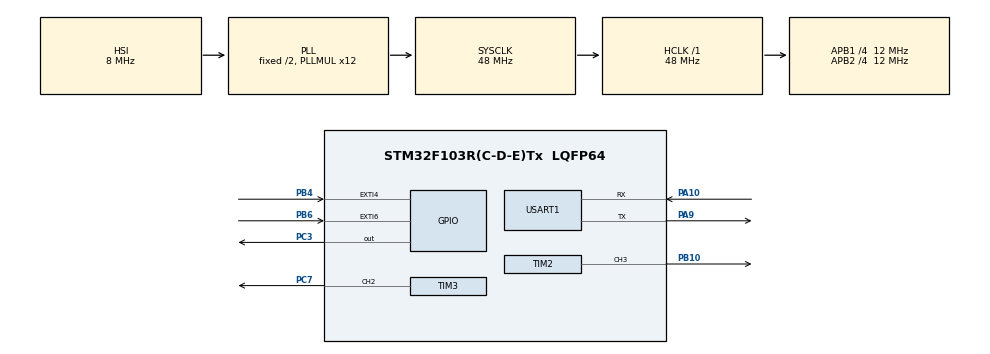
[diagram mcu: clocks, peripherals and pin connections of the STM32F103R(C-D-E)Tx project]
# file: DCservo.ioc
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Mcu.Family=STM32F1
Mcu.Name=STM32F103R(C-D-E)Tx
Mcu.Package=LQFP64
NVIC.EXTI4_IRQn=true\:0\:0\:false\:false\:true\:true\:true
NVIC.EXTI9_5_IRQn=true\:0\:0\:false\:false\:true\:true\:true
NVIC.PriorityGroup=NVIC_PRIORITYGROUP_4
NVIC.TIM4_IRQn=true\:0\:0\:false\:false\:true\:true\:true
NVIC.TIM5_IRQn=true\:0\:0\:false\:false\:true\:true\:true
NVIC.USART1_IRQn=true\:0\:0\:false\:false\:true\:true\:true
PA10.Mode=Asynchronous
PA10.Signal=USART1_RX
PA13.Mode=Serial_Wire
PA13.Signal=SYS_JTMS-SWDIO
PA14.Mode=Serial_Wire
PA14.Signal=SYS_JTCK-SWCLK
PA9.Mode=Asynchronous
PA9.Signal=USART1_TX
PB10.Signal=S_TIM2_CH3
PB4.GPIO_ModeDefaultEXTI=GPIO_MODE_IT_RISING_FALLING
PB4.GPIO_PuPd=GPIO_PULLUP
PB4.Signal=GPXTI4
PB6.GPIO_ModeDefaultEXTI=GPIO_MODE_IT_RISING_FALLING
PB6.GPIO_PuPd=GPIO_PULLUP
PB6.Signal=GPXTI6
PC3.GPIO_PuPd=GPIO_NOPULL
PC3.Signal=GPIO_Output
PC7.Signal=S_TIM3_CH2
ProjectManager.HeapSize=0x200
ProjectManager.StackSize=0x400
ProjectManager.TargetToolchain=MDK-ARM V5
RCC.AHBFreq_Value=48000000
RCC.APB1CLKDivider=RCC_HCLK_DIV4
RCC.APB1Freq_Value=12000000
RCC.APB1TimFreq_Value=24000000
RCC.APB2CLKDivider=RCC_HCLK_DIV4
RCC.APB2Freq_Value=12000000
RCC.APB2TimFreq_Value=24000000
RCC.HCLKFreq_Value=48000000
RCC.PLLMUL=RCC_PLL_MUL12
RCC.SYSCLKFreq_VALUE=48000000
RCC.SYSCLKSource=RCC_SYSCLKSOURCE_PLLCLK
RCC.USBFreq_Value=48000000
SH.S_TIM2_CH3.0=TIM2_CH3,PWM Generation3 CH3
SH.S_TIM3_CH2.0=TIM3_CH2,PWM Generation2 CH2
TIM2.Channel-PWM\ Generation3\ CH3=TIM_CHANNEL_3
TIM2.Period=100
TIM2.Prescaler=11
TIM3.Channel-PWM\ Generation2\ CH2=TIM_CHANNEL_2
TIM3.Period=100
TIM3.Prescaler=11
TIM4.Period=4
TIM4.Prescaler=23999
TIM5.Period=9
TIM5.Prescaler=23999
USART1.VirtualMode=VM_ASYNC
VP_TIM4_VS_ClockSourceINT.Mode=Internal
VP_TIM5_VS_ClockSourceINT.Mode=Internal
board=custom

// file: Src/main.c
/* USER CODE BEGIN Header */
/**
  ******************************************************************************
  * @file           : main.c
  * @brief          : Main program body
  ******************************************************************************
  ** This notice applies to any and all portions of this file
  * that are not between comment pairs USER CODE BEGIN and
  * USER CODE END. Other portions of this file, whether
  * inserted by the user or by software development tools
  * are owned by their respective copyright owners.
  *
  * COPYRIGHT(c) 2019 STMicroelectronics
  *
  * Redistribution and use in source and binary forms, with or without modification,
  * are permitted provided that the following conditions are met:
  *   1. Redistributions of source code must retain the above copyright notice,
  *      this list of conditions and the following disclaimer.
  *   2. Redistributions in binary form must reproduce the above copyright notice,
  *      this list of conditions and the following disclaimer in the documentation
  *      and/or other materials provided with the distribution.
  *   3. Neither the name of STMicroelectronics nor the names of its contributors
  *      may be used to endorse or promote products derived from this software
  *      without specific prior written permission.
  *
  * THIS SOFTWARE IS PROVIDED BY THE COPYRIGHT HOLDERS AND CONTRIBUTORS "AS IS"
  * AND ANY EXPRESS OR IMPLIED WARRANTIES, INCLUDING, BUT NOT LIMITED TO, THE
  * IMPLIED WARRANTIES OF MERCHANTABILITY AND FITNESS FOR A PARTICULAR PURPOSE ARE
  * DISCLAIMED. IN NO EVENT SHALL THE COPYRIGHT HOLDER OR CONTRIBUTORS BE LIABLE
  * FOR ANY DIRECT, INDIRECT, INCIDENTAL, SPECIAL, EXEMPLARY, OR CONSEQUENTIAL
  * DAMAGES (INCLUDING, BUT NOT LIMITED TO, PROCUREMENT OF SUBSTITUTE GOODS OR
  * SERVICES; LOSS OF USE, DATA, OR PROFITS; OR BUSINESS INTERRUPTION) HOWEVER
  * CAUSED AND ON ANY THEORY OF LIABILITY, WHETHER IN CONTRACT, STRICT LIABILITY,
  * OR TORT (INCLUDING NEGLIGENCE OR OTHERWISE) ARISING IN ANY WAY OUT OF THE USE
  * OF THIS SOFTWARE, EVEN IF ADVISED OF THE POSSIBILITY OF SUCH DAMAGE.
  *
  ******************************************************************************
  */
/* USER CODE END Header */

#include "main.h"

/* USER CODE BEGIN Includes */
#include "string.h"
#include "stdio.h"
#include "stdlib.h"
#include "stdbool.h"
/* USER CODE END Includes */

/* USER CODE BEGIN PD */
#define pi 3.1415
#define p2r pi/2000
#define Kp 33.54
/* USER CODE END PD */

TIM_HandleTypeDef htim2;
TIM_HandleTypeDef htim3;
TIM_HandleTypeDef htim4;
TIM_HandleTypeDef htim5;

UART_HandleTypeDef huart1;

/* USER CODE BEGIN PV */
int32_t PosCnt,Cnttmp,speed;
int16_t CountValue=0,RealVel,DesiredSpeed,HILIM,LOLIM;
uint16_t AngPos1, AngPos0,CntVel;
uint8_t PreviousState,pwm,Speedmode,tick=0;
bool run=false, dir;
float CurPos=0,DesiredPos,CurVel, Set;
char Rx_indx, Rx_Buffer[20],Rx_data[2];
/* USER CODE END PV */

void SystemClock_Config(void);
static void MX_GPIO_Init(void);
static void MX_TIM2_Init(void);
static void MX_TIM3_Init(void);
static void MX_USART1_UART_Init(void);
static void MX_TIM4_Init(void);
static void MX_TIM5_Init(void);
/* USER CODE BEGIN PFP */
void HAL_TIM_MspPostInit(TIM_HandleTypeDef *htim);
int SetVelLow(float CurrentPos, float Pos);
int SetVelMid(float CurrentPos, float Pos, float CurrentVel);
int SetVelHigh(float CurrentPos, float Pos, float CurrentVel);
/* USER CODE END PFP */

/* USER CODE BEGIN 0 */
#ifdef __GNUC__
	#define PUTCHAR_PROTOTYPE int __io_putchar(int ch)
#else
	#define PUTCHAR_PROTOTYPE int fputc(int ch, FILE *f)
	#define GETCHAR_PROTOTYPE int fgetc(FILE *f)
#endif
	PUTCHAR_PROTOTYPE
	{
		HAL_UART_Transmit(&huart1, (uint8_t*)&ch,1,100);
		return ch;
	}

	// Ham ngat Uart
void HAL_UART_RxCpltCallback(UART_HandleTypeDef *huart)
	{
		uint8_t i;
		if(huart->Instance == USART1) //uart1
		{
				if(Rx_indx==0) {for (i=0;i<20;i++) Rx_Buffer[i] = 0;}

		switch(Rx_data[0]) {
            /* dung dong co */
            case 'e':
                run =false;
                break;

            /* dong co chay */
            case 'r':
                run = true;
                break;
            case 'b':
//								reset();
								break;
            case 's':
                DesiredPos = atoi(Rx_Buffer);
                memset(Rx_Buffer, 0, sizeof(Rx_Buffer));
                Rx_indx = 0;
                break;
            case 'v':
                DesiredSpeed = atoi(Rx_Buffer);
                memset(Rx_Buffer, 0, sizeof(Rx_Buffer));
                Rx_indx = 0;
                break;
            case '0':
            case '1':
            case '2':
            case '3':
            case '4':
            case '5':
            case '6':
            case '7':
            case '8':
            case '9':
            case '.':
            case '-':
                Rx_Buffer[Rx_indx++] |= Rx_data[0];
                break;
            default:
                break;
        }
				HAL_UART_Receive_IT(&huart1,(uint8_t*)Rx_data,1);
		}
	}

float e,integral,kp,ki;
int u;

void PID(float DesiredSpeed, float CurVel)
{
	kp = 0.8;
	ki = 0.1;

	e = DesiredSpeed - CurVel;

	integral = integral + e*0.005;

	u = kp*e + ki*integral;

	if (u > 100)u = 100;
	else if(u < 0)u = 0;

}

void EXTI9_5_IRQHandler(void)	// doc encoder
{
  /* USER CODE BEGIN EXTI9_5_IRQn 0 */
unsigned char State0;
	State0 = (State0<<1) | HAL_GPIO_ReadPin(GPIOB, GPIO_PIN_4);
	State0 = (State0<<1) | HAL_GPIO_ReadPin(GPIOB, GPIO_PIN_6);
	State0 = State0&0x03;
	switch (State0) {
		case 0:
			if(PreviousState==1) CountValue++;
			else CountValue--;
		break;
		case 1:
			if(PreviousState==3) CountValue++;
			else CountValue--;
		break;
		case 2:
			if(PreviousState==0) CountValue++;
			else CountValue--;
		break;
		case 3:
			if(PreviousState==2) CountValue++;
			else CountValue--;
		break;
		}
	PreviousState = State0;
	CntVel++;
	if (CountValue>=4000) {
		CountValue = 0;
		PosCnt++;
	}
	else if	(CountValue<=-4000) {
		CountValue = 0;
		PosCnt--;
	}
  /* USER CODE END EXTI4_IRQn 0 */
  HAL_GPIO_EXTI_IRQHandler(GPIO_PIN_6);
  /* USER CODE BEGIN EXTI4_IRQn 1 */
}

/**
* @brief This function handles EXTI line3 interrupt.
*/
void EXTI4_IRQHandler(void)	// doc encoder
{
  /* USER CODE BEGIN EXTI4_IRQn 0 */
	// CHANNEL A
unsigned char State1;
	State1 = (State1<<1) | HAL_GPIO_ReadPin(GPIOB, GPIO_PIN_4);
	State1 = (State1<<1) | HAL_GPIO_ReadPin(GPIOB, GPIO_PIN_6);
	State1 = State1&0x03;
	switch (State1) {
		case 0:
			if(PreviousState==1) CountValue++;
			else CountValue--;
		break;
		case 1:
			if(PreviousState==3) CountValue++;
			else CountValue--;
		break;
		case 2:
			if(PreviousState==0) CountValue++;
			else CountValue--;
		break;
		case 3:
			if(PreviousState==2) CountValue++;
			else CountValue--;
		break;
		}
	PreviousState = State1;
	CntVel++;
	if (CountValue>=4000) {
		CountValue = 0;
		PosCnt++;
	}
	else if	(CountValue<=-4000) {
		CountValue = 0;
		PosCnt--;
	}
  /* USER CODE END EXTI3_IRQn 0 */
  HAL_GPIO_EXTI_IRQHandler(GPIO_PIN_4);
  /* USER CODE BEGIN EXTI3_IRQn 1 */

  /* USER CODE END EXTI3_IRQn 1 */
}

void HAL_TIM_PeriodElapsedCallback(TIM_HandleTypeDef *htim) {	// ngat timer 4 tinh van toc
	if(htim->Instance==TIM4)	// ngat do timer 4	5ms
	{
		CurPos = PosCnt*2*pi+CountValue*p2r;	// Position calculation
		Cnttmp = CntVel;
		CntVel = 0;
		RealVel = Cnttmp*3;										//RPM
		CurVel = Cnttmp*pi/10;	        		//rad/s

		Set = 280;

		PID(Set,CurVel);

//		switch(Speedmode) {
//			case 1:SZA
//				pwm = SetVelLow(CurPos,DesiredPos);
//				break;
//			case 2:
//				pwm = SetVelMid(CurPos,DesiredPos,CurVel);
//				break;
//			case 4:
//				pwm = SetVelHigh(CurPos,DesiredPos,CurVel);
//				break;
//		}
		// dir = 1, CurPos<0
		if (dir==1){
		//	__HAL_TIM_SetCompare(&htim2, TIM_CHANNEL_3,0); // dir
				HAL_GPIO_WritePin(GPIOC,GPIO_PIN_3, GPIO_PIN_SET);
			__HAL_TIM_SetCompare(&htim3,TIM_CHANNEL_2,u); 	// set pwm  max:3230
		}
		else {
				HAL_GPIO_WritePin(GPIOC,GPIO_PIN_3, GPIO_PIN_RESET);
			//__HAL_TIM_SetCompare(&htim2, TIM_CHANNEL_3,0); // set pwm
			__HAL_TIM_SetCompare(&htim3, TIM_CHANNEL_2,u); // set pwm
		}
		return;
	}
	if(htim->Instance==TIM5)
	{
//		ut=5*pi*time;	// ham chay theo thoi gian u(t)=5*pi(t);	// timer 5
//		time+=0.01;
//			tick++;
//			if (run==1) {
//				if(DesiredSpeed<=340) Speedmode = 1;
//				else if((DesiredSpeed>340)&&(DesiredSpeed<750))	Speedmode = 2;
//				else if(DesiredSpeed>=750) Speedmode = 4;
//				}
//			if (run==0){
//					pwm = 0;
//					Speedmode =0;
//			}
//			if ((run==1)&&(tick==5)){
//				tick=0;
//				printf("V%d\r \n",RealVel);
//				printf("P%f\r \n",CurPos);
//			}
	}

}
int SetVelLow(float CurrentPos, float Pos)
{
	HILIM=10,LOLIM=0;
	float uout;

	// STUDENTS ADD CODE FOR SLOW SPEED HERE

	if (uout>HILIM) uout=HILIM;
	else if(uout<LOLIM) uout=LOLIM;
	return uout;
}
int SetVelMid(float CurrentPos, float Pos, float CurrentVel)
{
	HILIM=20,LOLIM=0;
	float uout;

	// STUDENTS ADD CODES FOR MIDDLE SPEED HERE

	if (uout>HILIM) uout=HILIM;
	else if(uout<LOLIM) uout=LOLIM;
	return uout;
}
int SetVelHigh(float CurrentPos, float Pos, float CurrentVel)
{
	HILIM=99,LOLIM=0;
	float uout;

	// STUDENTS ADD CODES FOR HIGH SPEED HERE

	if (uout>HILIM) uout=HILIM;
	else if( uout<LOLIM) uout=LOLIM;

	return uout;
}
/* USER CODE END 0 */

int main(void)
{

  /* MCU Configuration--------------------------------------------------------*/

  /* Reset of all peripherals, Initializes the Flash interface and the Systick. */
  HAL_Init();

  /* Configure the system clock */
  SystemClock_Config();

  /* Initialize all configured peripherals */
  MX_GPIO_Init();
  MX_TIM2_Init();
  MX_TIM3_Init();
  MX_USART1_UART_Init();
  MX_TIM4_Init();
  MX_TIM5_Init();
  /* USER CODE BEGIN 2 */
	HAL_TIM_PWM_Start(&htim2, TIM_CHANNEL_3);	// khoi tao timer 2
	HAL_TIM_PWM_Start(&htim3, TIM_CHANNEL_2);	// khoi tao timer 3
	HAL_TIM_Base_Start_IT(&htim4);						// khoi tao timer 4
	HAL_TIM_Base_Start_IT(&htim5);						// khoi tao timer 5
	HAL_UART_Receive_IT(&huart1,(uint8_t*)Rx_data,1);

  /* USER CODE END 2 */

  /* Infinite loop */
  while (1)
  {

  }
}

void SystemClock_Config(void)
{
  RCC_OscInitTypeDef RCC_OscInitStruct = {0};
  RCC_ClkInitTypeDef RCC_ClkInitStruct = {0};

  /**Initializes the CPU, AHB and APB busses clocks
  */
  RCC_OscInitStruct.OscillatorType = RCC_OSCILLATORTYPE_HSI;
  RCC_OscInitStruct.HSIState = RCC_HSI_ON;
  RCC_OscInitStruct.HSICalibrationValue = RCC_HSICALIBRATION_DEFAULT;
  RCC_OscInitStruct.PLL.PLLState = RCC_PLL_ON;
  RCC_OscInitStruct.PLL.PLLSource = RCC_PLLSOURCE_HSI_DIV2;
  RCC_OscInitStruct.PLL.PLLMUL = RCC_PLL_MUL12;
  if (HAL_RCC_OscConfig(&RCC_OscInitStruct) != HAL_OK)
  {
    Error_Handler();
  }
  /**Initializes the CPU, AHB and APB busses clocks
  */
  RCC_ClkInitStruct.ClockType = RCC_CLOCKTYPE_HCLK|RCC_CLOCKTYPE_SYSCLK
                              |RCC_CLOCKTYPE_PCLK1|RCC_CLOCKTYPE_PCLK2;
  RCC_ClkInitStruct.SYSCLKSource = RCC_SYSCLKSOURCE_PLLCLK;
  RCC_ClkInitStruct.AHBCLKDivider = RCC_SYSCLK_DIV1;
  RCC_ClkInitStruct.APB1CLKDivider = RCC_HCLK_DIV4;
  RCC_ClkInitStruct.APB2CLKDivider = RCC_HCLK_DIV4;

  if (HAL_RCC_ClockConfig(&RCC_ClkInitStruct, FLASH_LATENCY_1) != HAL_OK)
  {
    Error_Handler();
  }
}

static void MX_TIM2_Init(void)
{

  TIM_MasterConfigTypeDef sMasterConfig = {0};
  TIM_OC_InitTypeDef sConfigOC = {0};

  htim2.Instance = TIM2;
  htim2.Init.Prescaler = 11;
  htim2.Init.CounterMode = TIM_COUNTERMODE_UP;
  htim2.Init.Period = 100;
  htim2.Init.ClockDivision = TIM_CLOCKDIVISION_DIV1;
  htim2.Init.AutoReloadPreload = TIM_AUTORELOAD_PRELOAD_DISABLE;
  if (HAL_TIM_PWM_Init(&htim2) != HAL_OK)
  {
    Error_Handler();
  }
  sMasterConfig.MasterOutputTrigger = TIM_TRGO_RESET;
  sMasterConfig.MasterSlaveMode = TIM_MASTERSLAVEMODE_DISABLE;
  if (HAL_TIMEx_MasterConfigSynchronization(&htim2, &sMasterConfig) != HAL_OK)
  {
    Error_Handler();
  }
  sConfigOC.OCMode = TIM_OCMODE_PWM1;
  sConfigOC.Pulse = 0;
  sConfigOC.OCPolarity = TIM_OCPOLARITY_HIGH;
  sConfigOC.OCFastMode = TIM_OCFAST_DISABLE;
  if (HAL_TIM_PWM_ConfigChannel(&htim2, &sConfigOC, TIM_CHANNEL_3) != HAL_OK)
  {
    Error_Handler();
  }
  HAL_TIM_MspPostInit(&htim2);

}

static void MX_TIM3_Init(void)
{

  TIM_MasterConfigTypeDef sMasterConfig = {0};
  TIM_OC_InitTypeDef sConfigOC = {0};

  htim3.Instance = TIM3;
  htim3.Init.Prescaler = 11;
  htim3.Init.CounterMode = TIM_COUNTERMODE_UP;
  htim3.Init.Period = 100;
  htim3.Init.ClockDivision = TIM_CLOCKDIVISION_DIV1;
  htim3.Init.AutoReloadPreload = TIM_AUTORELOAD_PRELOAD_DISABLE;
  if (HAL_TIM_PWM_Init(&htim3) != HAL_OK)
  {
    Error_Handler();
  }
  sMasterConfig.MasterOutputTrigger = TIM_TRGO_RESET;
  sMasterConfig.MasterSlaveMode = TIM_MASTERSLAVEMODE_DISABLE;
  if (HAL_TIMEx_MasterConfigSynchronization(&htim3, &sMasterConfig) != HAL_OK)
  {
    Error_Handler();
  }
  sConfigOC.OCMode = TIM_OCMODE_PWM1;
  sConfigOC.Pulse = 0;
  sConfigOC.OCPolarity = TIM_OCPOLARITY_HIGH;
  sConfigOC.OCFastMode = TIM_OCFAST_DISABLE;
  if (HAL_TIM_PWM_ConfigChannel(&htim3, &sConfigOC, TIM_CHANNEL_2) != HAL_OK)
  {
    Error_Handler();
  }
  HAL_TIM_MspPostInit(&htim3);

}

static void MX_TIM4_Init(void)
{

  TIM_ClockConfigTypeDef sClockSourceConfig = {0};
  TIM_MasterConfigTypeDef sMasterConfig = {0};

  htim4.Instance = TIM4;
  htim4.Init.Prescaler = 23999;
  htim4.Init.CounterMode = TIM_COUNTERMODE_UP;
  htim4.Init.Period = 4;
  htim4.Init.ClockDivision = TIM_CLOCKDIVISION_DIV1;
  htim4.Init.AutoReloadPreload = TIM_AUTORELOAD_PRELOAD_DISABLE;
  if (HAL_TIM_Base_Init(&htim4) != HAL_OK)
  {
    Error_Handler();
  }
  sClockSourceConfig.ClockSource = TIM_CLOCKSOURCE_INTERNAL;
  if (HAL_TIM_ConfigClockSource(&htim4, &sClockSourceConfig) != HAL_OK)
  {
    Error_Handler();
  }
  sMasterConfig.MasterOutputTrigger = TIM_TRGO_RESET;
  sMasterConfig.MasterSlaveMode = TIM_MASTERSLAVEMODE_DISABLE;
  if (HAL_TIMEx_MasterConfigSynchronization(&htim4, &sMasterConfig) != HAL_OK)
  {
    Error_Handler();
  }

}

static void MX_TIM5_Init(void)
{

  TIM_ClockConfigTypeDef sClockSourceConfig = {0};
  TIM_MasterConfigTypeDef sMasterConfig = {0};

  htim5.Instance = TIM5;
  htim5.Init.Prescaler = 23999;
  htim5.Init.CounterMode = TIM_COUNTERMODE_UP;
  htim5.Init.Period = 9;
  htim5.Init.ClockDivision = TIM_CLOCKDIVISION_DIV1;
  htim5.Init.AutoReloadPreload = TIM_AUTORELOAD_PRELOAD_DISABLE;
  if (HAL_TIM_Base_Init(&htim5) != HAL_OK)
  {
    Error_Handler();
  }
  sClockSourceConfig.ClockSource = TIM_CLOCKSOURCE_INTERNAL;
  if (HAL_TIM_ConfigClockSource(&htim5, &sClockSourceConfig) != HAL_OK)
  {
    Error_Handler();
  }
  sMasterConfig.MasterOutputTrigger = TIM_TRGO_RESET;
  sMasterConfig.MasterSlaveMode = TIM_MASTERSLAVEMODE_DISABLE;
  if (HAL_TIMEx_MasterConfigSynchronization(&htim5, &sMasterConfig) != HAL_OK)
  {
    Error_Handler();
  }

}

static void MX_USART1_UART_Init(void)
{

  huart1.Instance = USART1;
  huart1.Init.BaudRate = 115200;
  huart1.Init.WordLength = UART_WORDLENGTH_8B;
  huart1.Init.StopBits = UART_STOPBITS_1;
  huart1.Init.Parity = UART_PARITY_NONE;
  huart1.Init.Mode = UART_MODE_TX_RX;
  huart1.Init.HwFlowCtl = UART_HWCONTROL_NONE;
  huart1.Init.OverSampling = UART_OVERSAMPLING_16;
  if (HAL_UART_Init(&huart1) != HAL_OK)
  {
    Error_Handler();
  }

}

static void MX_GPIO_Init(void)
{
  GPIO_InitTypeDef GPIO_InitStruct = {0};

  /* GPIO Ports Clock Enable */
  __HAL_RCC_GPIOC_CLK_ENABLE();
  __HAL_RCC_GPIOB_CLK_ENABLE();
  __HAL_RCC_GPIOA_CLK_ENABLE();

  /*Configure GPIO pin Output Level */
  HAL_GPIO_WritePin(GPIOC, GPIO_PIN_3, GPIO_PIN_RESET);

  /*Configure GPIO pin : PC3 */
  GPIO_InitStruct.Pin = GPIO_PIN_3;
  GPIO_InitStruct.Mode = GPIO_MODE_OUTPUT_PP;
  GPIO_InitStruct.Pull = GPIO_NOPULL;
  GPIO_InitStruct.Speed = GPIO_SPEED_FREQ_LOW;
  HAL_GPIO_Init(GPIOC, &GPIO_InitStruct);

  /*Configure GPIO pins : PB4 PB6 */
  GPIO_InitStruct.Pin = GPIO_PIN_4|GPIO_PIN_6;
  GPIO_InitStruct.Mode = GPIO_MODE_IT_RISING_FALLING;
  GPIO_InitStruct.Pull = GPIO_PULLUP;
  HAL_GPIO_Init(GPIOB, &GPIO_InitStruct);

  /* EXTI interrupt init*/
  HAL_NVIC_SetPriority(EXTI4_IRQn, 0, 0);
  HAL_NVIC_EnableIRQ(EXTI4_IRQn);

  HAL_NVIC_SetPriority(EXTI9_5_IRQn, 0, 0);
  HAL_NVIC_EnableIRQ(EXTI9_5_IRQn);

}

void Error_Handler(void)
{
}

/************************ (C) COPYRIGHT STMicroelectronics *****END OF FILE****/
